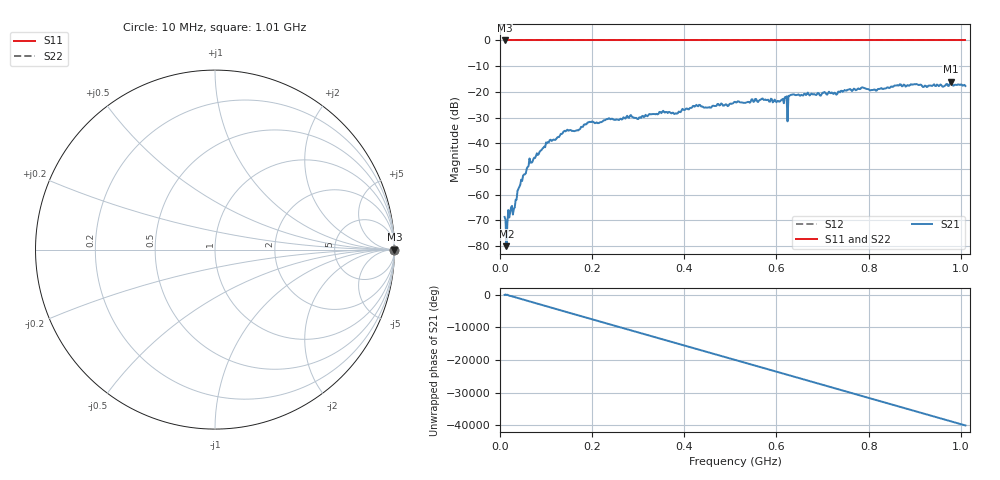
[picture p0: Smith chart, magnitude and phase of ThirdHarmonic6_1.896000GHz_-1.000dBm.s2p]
! 8/16/2025 10:53:31 PM
! C:\ANRITSUVNA\TEMP\TEMP.S2P
! CHANNEL.1
! TR.MEASUREMENT
! RAW.DATA
! RF.CORRECTION.OFF
! AVERAGING.OFF
! IF.BANDWIDTH: 5KHZ
! SWEEPTYPE:  FREQ.SWEEP(Linear)
! Reference Plane Port Info
! PORT:  PORT1  PORT2
! DISTANCE:  0  m  0  m
! TIME:  0  s  0  s
! PHASE.OFFSET:  0  deg.  0  deg.
! LOSS:  0  dB  0  dB
! REF.LOSS:  0  dB  0  dB
! REF.FREQ:  0  Hz  0  Hz
! Power Info
! POWER:  -20  dBm  -20  dBm
! EFF.POWER:  -20  dBm  -20  dBm
! SOURCE.ATTEN:  0  dB  0  dB
! TEST.ATTEN:  0  dB  0  dB
# GHZ S RI R 50.0
! FREQ.GHZ  S11RE  S11IM  S21RE  S21IM  S12RE  S12IM  S22RE  S22IM
!; PortSelection: Port_12
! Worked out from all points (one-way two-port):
!   501 points, 10 MHz to 1.01 GHz, reference 50 ohm
!   highest |S21| = -16.06 dB at 978 MHz (marker M1); lowest = -80.0 dB at 14 MHz (marker M2)
!   lowest |S11| = 0.0 dB at 10 MHz (marker M3)
!   |S11| at or under -10 dB: nowhere
!   |S22| runs from 0.0 to 0.0 dB; largest |S21 - S12| = 1.1
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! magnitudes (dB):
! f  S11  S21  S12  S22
! 10 MHz  0.0  -68.7  0.0  0.0
! 14 MHz  0.0  -80.0  0.0  0.0
! 18 MHz  0.0  -66.0  0.0  0.0
! 22 MHz  0.0  -67.1  0.0  0.0
! 32 MHz  0.0  -64.9  0.0  0.0
! 42 MHz  0.0  -57.0  0.0  0.0
! 64 MHz  0.0  -45.9  0.0  0.0
! 104 MHz  0.0  -39.5  0.0  0.0
! 142 MHz  0.0  -35.4  0.0  0.0
! 178 MHz  0.0  -33.6  0.0  0.0
! 196 MHz  0.0  -31.7  0.0  0.0
! 344 MHz  0.0  -28.6  0.0  0.0
! 382 MHz  0.0  -28.3  0.0  0.0
! 510 MHz  0.0  -23.9  0.0  0.0
! 618 MHz  0.0  -22.1  0.0  0.0
! 620 MHz  0.0  -22.1  0.0  0.0
! 628 MHz  0.0  -21.5  0.0  0.0
! 630 MHz  0.0  -21.3  0.0  0.0
! 678 MHz  0.0  -21.0  0.0  0.0
! 844 MHz  0.0  -18.5  0.0  0.0
! 978 MHz  0.0  -16.1  0.0  0.0
! 1.01 GHz  0.0  -17.7  0.0  0.0
